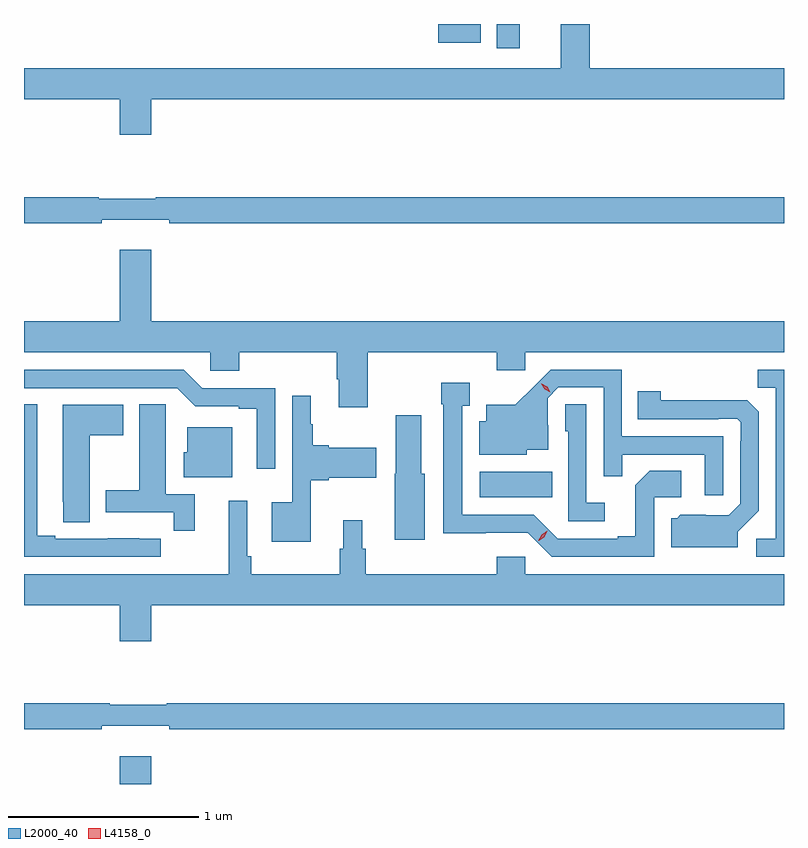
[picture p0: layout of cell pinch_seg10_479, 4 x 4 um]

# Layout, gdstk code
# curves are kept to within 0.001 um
import gdstk
lib = gdstk.Library(unit=1e-6, precision=1e-09)
def R(c, l, rs):  # rectangles x0, y0, x1, y1
    for r in rs: c.add(gdstk.rectangle(r[:2], r[2:], *l))
def P(c, l, *ps):  # polygons
    for p in ps: c.add(gdstk.Polygon(p, *l))
L2000_40 = (2000, 40)
L4158_0 = (4158, 0)

pinch_seg10_479 = lib.new_cell('pinch_seg10_479')
R(pinch_seg10_479, L2000_40, [(260.912,1300.708,261.076,1300.855), (262.806,1302.218,263.186,1302.352), (262.895,1304.58,263.017,1304.708), (262.586,1304.609,262.81,1304.708)])
P(pinch_seg10_479, L2000_40, [(261.076,1304.312),(264.407,1304.312),(264.407,1304.476),(263.384,1304.476),(263.384,1304.708),(263.231,1304.708),(263.231,1304.476),(260.407,1304.476),(260.407,1304.312),(260.912,1304.312),(260.912,1304.124),(261.076,1304.124)],
  [(260.816,1303.679),(261.172,1303.679),(261.172,1303.66),(264.407,1303.66),(264.407,1303.796),(261.1,1303.796),(261.1,1303.789),(260.8,1303.789),(260.8,1303.796),(260.407,1303.796),(260.407,1303.66),(260.816,1303.66)],
  [(262.217,1302.98),(262.895,1302.98),(262.895,1302.885),(263.046,1302.885),(263.046,1302.98),(264.407,1302.98),(264.407,1303.144),(261.076,1303.144),(261.076,1303.519),(260.912,1303.519),(260.912,1303.144),(260.407,1303.144),(260.407,1302.98),(261.387,1302.98),(261.387,1302.882),(261.539,1302.882),(261.539,1302.98),(262.052,1302.98),(262.052,1302.838),(262.064,1302.838),(262.064,1302.69),(262.217,1302.69)],
  [(264.407,1302.888),(264.268,1302.888),(264.268,1302.793),(264.363,1302.793),(264.363,1302),(264.261,1302),(264.261,1301.904),(264.407,1301.904)],
  [(261.729,1302.792),(261.345,1302.792),(261.249,1302.888),(260.407,1302.888),(260.407,1302.792),(261.213,1302.792),(261.309,1302.696),(261.536,1302.696),(261.536,1302.684),(261.632,1302.684),(261.632,1302.366),(261.729,1302.366)],
  [(264.087,1302.537),(263.553,1302.537),(263.553,1302.888),(263.18,1302.888),(262.993,1302.703),(262.841,1302.703),(262.841,1302.616),(262.802,1302.616),(262.802,1302.44),(263.052,1302.44),(263.052,1302.467),(263.167,1302.467),(263.167,1302.596),(263.163,1302.596),(263.163,1302.738),(263.22,1302.795),(263.457,1302.795),(263.457,1302.328),(263.555,1302.328),(263.555,1302.441),(263.991,1302.441),(263.991,1302.228),(264.087,1302.228)],
  [(263.724,1302.216),(263.866,1302.216),(263.866,1302.356),(263.701,1302.356),(263.625,1302.28),(263.625,1302.013),(263.531,1302.013),(263.531,1302),(263.217,1302),(263.091,1302.126),(262.714,1302.126),(262.714,1302.699),(262.753,1302.699),(262.753,1302.82),(262.603,1302.82),(262.603,1302.707),(262.613,1302.707),(262.613,1302.029),(263.058,1302.03),(263.184,1301.904),(263.724,1301.904)],
  [(264.163,1302.036),(264.273,1302.146),(264.273,1302.668),(264.214,1302.727),(263.757,1302.728),(263.757,1302.775),(263.638,1302.775),(263.638,1302.627),(264.062,1302.627),(264.062,1302.63),(264.162,1302.63),(264.18,1302.612),(264.18,1302.512),(264.177,1302.512),(264.177,1302.183),(264.117,1302.123),(263.86,1302.124),(263.844,1302.108),(263.813,1302.108),(263.813,1301.954),(264.163,1301.954)],
  [(261.916,1302.308),(262.012,1302.308),(262.012,1302.32),(262.261,1302.32),(262.261,1302.478),(262.012,1302.478),(262.012,1302.491),(261.928,1302.491),(261.928,1302.602),(261.916,1302.602),(261.916,1302.751),(261.819,1302.751),(261.819,1302.19),(261.71,1302.19),(261.71,1301.984),(261.916,1301.984)],
  [(263.464,1302.187),(263.367,1302.187),(263.367,1302.707),(263.256,1302.707),(263.256,1302.564),(263.271,1302.564),(263.271,1302.09),(263.464,1302.09)],
  [(261.305,1302.234),(261.154,1302.234),(261.154,1302.596),(261.153,1302.596),(261.153,1302.707),(261.014,1302.707),(261.014,1302.255),(260.837,1302.255),(260.837,1302.138),(261.196,1302.138),(261.196,1302.042),(261.305,1302.042)],
  [(261.127,1302),(261.014,1302),(261.014,1302.001),(260.848,1302.001),(260.848,1302),(260.572,1302),(260.572,1302.015),(260.476,1302.015),(260.476,1302.707),(260.407,1302.707),(260.407,1301.904),(261.127,1301.904)],
  [(260.752,1302.544),(260.929,1302.544),(260.929,1302.703),(260.612,1302.703),(260.612,1302.193),(260.613,1302.193),(260.613,1302.085),(260.752,1302.085)],
  [(262.516,1302.342),(262.498,1302.342),(262.498,1302.649),(262.364,1302.649),(262.364,1302.342),(262.358,1302.342),(262.358,1301.994),(262.516,1301.994)],
  [(261.502,1302.586),(261.266,1302.586),(261.266,1302.453),(261.248,1302.453),(261.248,1302.323),(261.502,1302.323)],
  [(261.076,1301.648),(264.407,1301.648),(264.407,1301.812),(263.046,1301.812),(263.046,1301.905),(262.895,1301.905),(262.895,1301.812),(262.205,1301.812),(262.205,1301.946),(262.186,1301.946),(262.186,1302.097),(262.088,1302.097),(262.088,1301.946),(262.069,1301.946),(262.069,1301.812),(261.602,1301.812),(261.602,1301.908),(261.582,1301.908),(261.582,1302.199),(261.485,1302.199),(261.485,1301.812),(260.407,1301.812),(260.407,1301.648),(260.912,1301.648),(260.912,1301.46),(261.076,1301.46)],
  [(260.816,1301.015),(261.172,1301.015),(261.172,1300.996),(264.407,1300.996),(264.407,1301.132),(261.158,1301.132),(261.158,1301.125),(260.858,1301.125),(260.858,1301.132),(260.407,1301.132),(260.407,1300.996),(260.816,1300.996)])
P(pinch_seg10_479, L4158_0, [(263.178,1302.769),(263.147,1302.785),(263.13,1302.814),(263.13,1302.815),(263.131,1302.815),(263.161,1302.799),(263.178,1302.77),(263.178,1302.769)],
  [(263.114,1301.988),(263.114,1301.989),(263.131,1302.021),(263.162,1302.041),(263.162,1302.041),(263.162,1302.04),(263.146,1302.008),(263.115,1301.988)])

lib.write_gds('pinch_seg10_479.gds')
